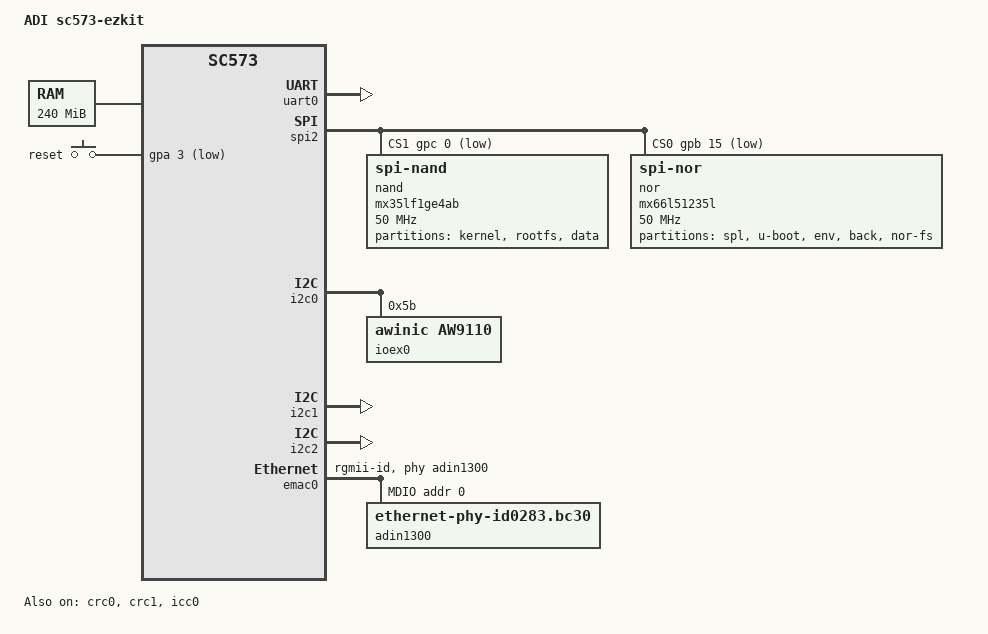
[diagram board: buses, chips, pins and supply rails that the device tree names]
/*
 * Device tree for ADI sc573-ezkit board
 *
 * Copyright 2014 - 2018 Analog Devices Inc.
 *
 * Licensed under the GPL-2 or later.
 *
 * todo list:
 * - bushbutton GPIOs are all incorrect and commented out for now
 */

/dts-v1/;

#include <dt-bindings/input/input.h>
#include <dt-bindings/gpio/gpio.h>
#include <dt-bindings/pinctrl/adi-adsp.h>
#include <dt-bindings/pinctrl/adi-adsp-sru.h>
#include "sc57x.dtsi"

/ {
	model = "ADI sc573-ezkit";
	compatible = "adi,sc573-ezkit", "adi,sc57x";

	aliases {
		/* serial2 = &uart2; */
	};

	memory@80000000 {
		device_type = "memory";
		reg = <0x80000000 0xF000000>;
	};

	scb {
		core1-rproc@0x3108C000 {
			compatible = "adi,remoteproc";
			reg = <0x28240000 0x2000>,
			      <0x20000000 0x200000>;
			core-id = <1>;
			core-irq = <84>;
			u-boot,load = <1>;
			firmware-name = "SharcFW.ldr";
			interrupts = <GIC_SPI 206 IRQ_TYPE_EDGE_RISING>;
			adi,rcu = <&rcu>;
			adi,l1-da = <0x240000 0x3a0000>;
			adi,l2-da = <0x20080000 0x200C0000>;
			adi,tru = <&tru>;
			adi,tru-master-id = <71>; /* trigger master SOFT4 */
		};
	};

	gpio-keys {
			compatible = "gpio-keys";
			autorepeat;

			button0 {
				label = "reset";
				linux,code = <0x100>; /* BTN_0. see linux-event-codes.h*/
				gpios = <&gpa 3 GPIO_ACTIVE_LOW>;
				debounce-interval = <15>;
			};
	};
};

&tru {
	mcapi_to_a5: channel@0 {
		adi,tru-master-id = <70>; /* trigger master SOFT3 */
		adi,tru-slave-id = <71>; /* TRU0_IRQ3 */
	};
	mcapi_to_sharc0: channel@1 {
		adi,tru-master-id = <71>; /* trigger master SOFT4 */
		adi,tru-slave-id = <75>; /* TRU0_IRQ7 */
	};
	mcapi_to_sharc1: channel@2 {
		adi,tru-master-id = <72>; /* trigger master SOFT5 */
		adi,tru-slave-id = <79>; /* TRU0_IRQ11 */
	};
};

&uart0 {
	pinctrl-names = "default";
	pinctrl-0 = <&uart0_default>;
	status = "okay";
};

&spi2 {
	pinctrl-names = "default";
	pinctrl-0 = <&spi2_quad>;
	status = "okay";
	cs-gpios = <&gpb 15 GPIO_ACTIVE_LOW>, <&gpc 0 GPIO_ACTIVE_LOW>;

	nand: mx35lf1ge4ab@0 {
		#address-cells = <1>;
		#size-cells = <1>;
		compatible = "spi-nand";
		spi-max-frequency = <50000000>;
		reg = <1>;
		spi-cpol;
		spi-cpha;
		spi-rx-bus-width = <4>;
		spi-tx-bus-width = <4>;
		adi,enable-dma;
		partition@0 {
			label = "kernel";
			reg = <0x0 0x400000>;
		};
		partition@1 {
			label = "rootfs";
			reg = <0x400000 0x3C00000>;
		};
		partition@2 {
			label = "data";
			reg = <0x4000000 0x4000000>;
		};
	};
	nor: mx66l51235l@1 {
		#address-cells = <1>;
		#size-cells = <1>;
		compatible = "jedec,spi-nor";
		spi-max-frequency = <50000000>;
		reg = <0>;
		spi-cpol;
		spi-cpha;
		spi-rx-bus-width = <4>;
		spi-tx-bus-width = <4>;
		adi,enable-dma;
		partition@0 {
			label = "spl";
			reg = <0x0 0x20000>;
		};
		partition@1 {
			label = "u-boot";
			reg = <0x20000 0xC0000>;
		};
		partition@2 {
			label = "env";
			reg = <0xE0000 0x20000>;
		};
		partition@3 {
			label = "back";
			reg = <0x100000 0x100000>;
		};
		partition@4 {
			label = "nor-fs";
			reg = <0x200000 0x600000>;
		};
	};
};

&i2c0 {
	status = "okay";

	ioex0: aw9110@0x5b {
		compatible = "awinic,aw9110";
		gpio-controller;
		#gpio-cells = <2>;
		reg = <0x5b>;

		led0 {
			label = "led-r";
			led-gpios = <&ioex0 0 0>;
			brightness = <0>;
		};
		led1 {
			label = "led-g";
			led-gpios = <&ioex0 1 0>;
			brightness = <0>;
		};
		led2 {
			label = "led-b";
			led-gpios = <&ioex0 2 0>;
			brightness = <0>;
		};
	};
};

&i2c1 {
	status = "okay";
};

&i2c2 {
	status = "okay";
};

&sport_cluster0 {
	status = "disabled";
};

&crc0 {
	status = "okay";
};

&crc1 {
	status = "okay";
};

&emac0 {
	phy-handle = <&adin1300>;
	phy-mode = "rgmii-id";
	status = "okay";
	mdio0 {
		compatible = "snps,dwmac-mdio";
		#address-cells = <1>;
		#size-cells = <0>;
		adin1300: ethernet-phy@0 {
			compatible = "ethernet-phy-id0283.bc30", "ethernet-phy-ieee802.3-c22";
			reg = <0>;
			adi,rx-internal-delay-ps = <1800>;
			adi,tx-internal-delay-ps = <2200>;
		};
	};
};

&icc0 {
	status = "okay";
};

&sram_mmap {
	status = "okay";
};

&pinctrl0 {
	uart0_default: uart0_default_pins {
		pins {
			pinmux = <ADI_ADSP_PINMUX('F', 8, ADI_ADSP_PINFUNC_ALT0)>,
			         <ADI_ADSP_PINMUX('F', 9, ADI_ADSP_PINFUNC_ALT0)>;
		};
	};

	eth0_default: eth0_default_pins {
		pins {
			pinmux = <ADI_ADSP_PINMUX('B', 7, ADI_ADSP_PINFUNC_ALT0)>,
			         <ADI_ADSP_PINMUX('B', 8, ADI_ADSP_PINFUNC_ALT0)>,
			         <ADI_ADSP_PINMUX('B', 6, ADI_ADSP_PINFUNC_ALT0)>,
			         <ADI_ADSP_PINMUX('B', 5, ADI_ADSP_PINFUNC_ALT0)>,
			         <ADI_ADSP_PINMUX('A', 13, ADI_ADSP_PINFUNC_ALT0)>,
			         <ADI_ADSP_PINMUX('A', 12, ADI_ADSP_PINFUNC_ALT0)>,
			         <ADI_ADSP_PINMUX('A', 14, ADI_ADSP_PINFUNC_ALT0)>,
			         <ADI_ADSP_PINMUX('A', 15, ADI_ADSP_PINFUNC_ALT0)>,
			         <ADI_ADSP_PINMUX('B', 9, ADI_ADSP_PINFUNC_ALT0)>,
			         <ADI_ADSP_PINMUX('B', 4, ADI_ADSP_PINFUNC_ALT0)>,
			         <ADI_ADSP_PINMUX('B', 0, ADI_ADSP_PINFUNC_ALT0)>,
			         <ADI_ADSP_PINMUX('B', 2, ADI_ADSP_PINFUNC_ALT0)>,
			         <ADI_ADSP_PINMUX('A', 10, ADI_ADSP_PINFUNC_ALT0)>,
			         <ADI_ADSP_PINMUX('A', 11, ADI_ADSP_PINFUNC_ALT0)>;
		};
	};

	spi2_quad: spi2_quad_pins {
		pins {
			pinmux = <ADI_ADSP_PINMUX('B', 14, ADI_ADSP_PINFUNC_ALT0)>,
			         <ADI_ADSP_PINMUX('B', 10, ADI_ADSP_PINFUNC_ALT0)>,
			         <ADI_ADSP_PINMUX('B', 11, ADI_ADSP_PINFUNC_ALT0)>,
			         <ADI_ADSP_PINMUX('B', 12, ADI_ADSP_PINFUNC_ALT0)>,
			         <ADI_ADSP_PINMUX('B', 13, ADI_ADSP_PINFUNC_ALT0)>;
		};
	};
};

